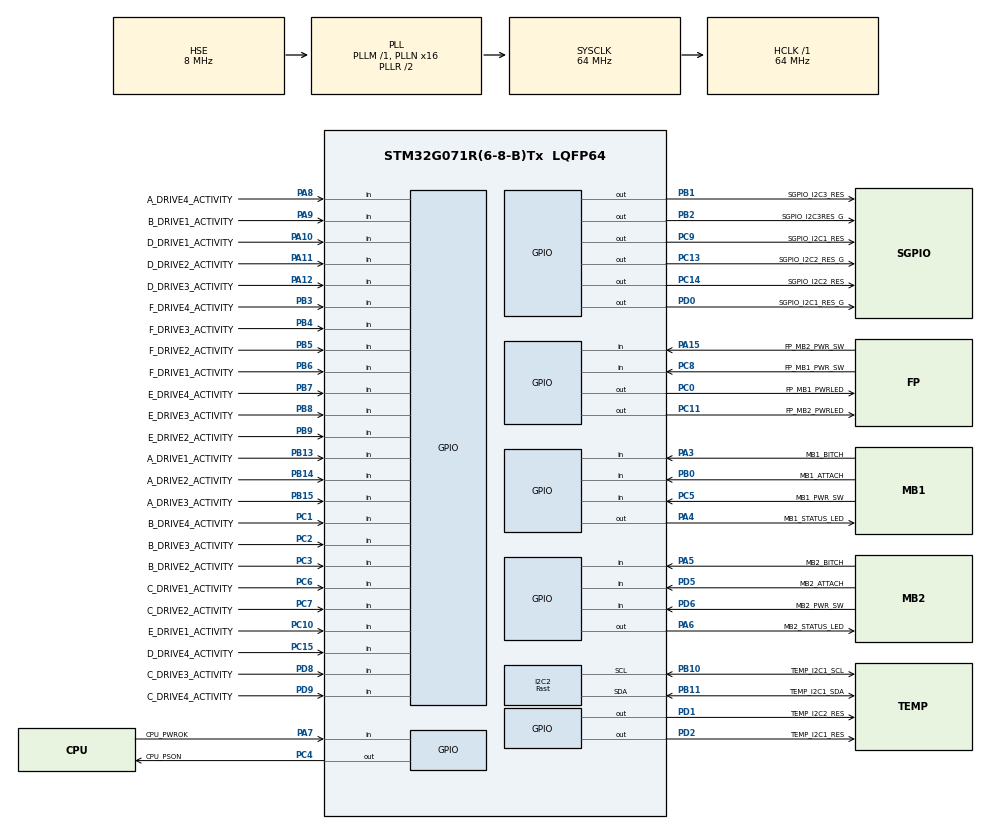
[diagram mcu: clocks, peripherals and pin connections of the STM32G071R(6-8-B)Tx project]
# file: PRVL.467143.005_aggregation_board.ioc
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Dma.I2C2_RX.0.Direction=DMA_PERIPH_TO_MEMORY
Dma.I2C2_RX.0.EventEnable=DISABLE
Dma.I2C2_RX.0.Instance=DMA1_Channel1
Dma.I2C2_RX.0.MemDataAlignment=DMA_MDATAALIGN_BYTE
Dma.I2C2_RX.0.MemInc=DMA_MINC_ENABLE
Dma.I2C2_RX.0.Mode=DMA_NORMAL
Dma.I2C2_RX.0.PeriphDataAlignment=DMA_PDATAALIGN_BYTE
Dma.I2C2_RX.0.PeriphInc=DMA_PINC_DISABLE
Dma.I2C2_RX.0.Polarity=HAL_DMAMUX_REQ_GEN_RISING
Dma.I2C2_RX.0.Priority=DMA_PRIORITY_LOW
Dma.I2C2_RX.0.RequestNumber=1
Dma.I2C2_RX.0.SignalID=NONE
Dma.I2C2_RX.0.SyncEnable=DISABLE
Dma.I2C2_RX.0.SyncPolarity=HAL_DMAMUX_SYNC_NO_EVENT
Dma.I2C2_RX.0.SyncRequestNumber=1
Dma.I2C2_RX.0.SyncSignalID=NONE
Dma.I2C2_TX.1.Direction=DMA_MEMORY_TO_PERIPH
Dma.I2C2_TX.1.EventEnable=DISABLE
Dma.I2C2_TX.1.Instance=DMA1_Channel2
Dma.I2C2_TX.1.MemDataAlignment=DMA_MDATAALIGN_BYTE
Dma.I2C2_TX.1.MemInc=DMA_MINC_ENABLE
Dma.I2C2_TX.1.Mode=DMA_NORMAL
Dma.I2C2_TX.1.PeriphDataAlignment=DMA_PDATAALIGN_BYTE
Dma.I2C2_TX.1.PeriphInc=DMA_PINC_DISABLE
Dma.I2C2_TX.1.Polarity=HAL_DMAMUX_REQ_GEN_RISING
Dma.I2C2_TX.1.Priority=DMA_PRIORITY_LOW
Dma.I2C2_TX.1.RequestNumber=1
Dma.I2C2_TX.1.SignalID=NONE
Dma.I2C2_TX.1.SyncEnable=DISABLE
Dma.I2C2_TX.1.SyncPolarity=HAL_DMAMUX_SYNC_NO_EVENT
Dma.I2C2_TX.1.SyncRequestNumber=1
Dma.I2C2_TX.1.SyncSignalID=NONE
Dma.Request0=I2C2_RX
Dma.Request1=I2C2_TX
I2C2.Analog_Filter=I2C_ANALOGFILTER_ENABLE
I2C2.I2C_Fall_Time=100
I2C2.I2C_Rise_Time=140
I2C2.I2C_Speed_Mode=I2C_Fast
I2C2.NoStretchMode=I2C_NOSTRETCH_DISABLE
I2C2.Timing=0x00F12163
Mcu.Family=STM32G0
Mcu.Name=STM32G071R(6-8-B)Tx
Mcu.Package=LQFP64
NVIC.DMA1_Channel1_IRQn=true\:2\:0\:true\:true\:true\:1\:false\:true\:true
NVIC.DMA1_Channel2_3_IRQn=true\:2\:0\:true\:true\:true\:2\:false\:true\:true
NVIC.I2C2_IRQn=true\:1\:0\:true\:true\:true\:5\:true\:true\:true
NVIC.TIM1_BRK_UP_TRG_COM_IRQn=true\:2\:0\:true\:false\:true\:true\:true\:true
NVIC.TIM2_IRQn=true\:2\:0\:true\:true\:true\:3\:true\:true\:true
NVIC.TIM3_IRQn=true\:2\:0\:true\:true\:true\:4\:true\:true\:true
PA10.GPIO_Label=D_DRIVE1_ACTIVITY
PA10.Signal=GPIO_Input
PA11\ [PA9].GPIO_Label=D_DRIVE2_ACTIVITY
PA11\ [PA9].Signal=GPIO_Input
PA12\ [PA10].GPIO_Label=D_DRIVE3_ACTIVITY
PA12\ [PA10].Signal=GPIO_Input
PA13.Mode=Serial_Wire
PA13.Signal=SYS_SWDIO
PA14-BOOT0.Mode=Serial_Wire
PA14-BOOT0.Signal=SYS_SWCLK
PA15.GPIO_Label=FP_MB2_PWR_SW
PA15.GPIO_Mode=GPIO_MODE_INPUT
PA15.GPIO_PuPd=GPIO_PULLUP
PA15.Signal=GPIO_Input
PA3.GPIO_Label=MB1_BITCH
PA3.Signal=GPIO_Input
PA4.GPIO_Label=MB1_STATUS_LED
PA4.PinState=GPIO_PIN_SET
PA4.Signal=GPIO_Output
PA5.GPIO_Label=MB2_BITCH
PA5.Signal=GPIO_Input
PA6.GPIO_Label=MB2_STATUS_LED
PA6.PinState=GPIO_PIN_SET
PA6.Signal=GPIO_Output
PA7.GPIO_Label=CPU_PWROK
PA7.Signal=GPIO_Input
PA8.GPIO_Label=A_DRIVE4_ACTIVITY
PA8.Signal=GPIO_Input
PA9.GPIO_Label=B_DRIVE1_ACTIVITY
PA9.Signal=GPIO_Input
PB0.GPIO_Label=MB1_ATTACH
PB0.Signal=GPIO_Input
PB1.GPIO_Label=SGPIO_I2C3_RES
PB1.PinState=GPIO_PIN_SET
PB1.Signal=GPIO_Output
PB10.GPIO_Label=TEMP_I2C1_SCL
PB10.Mode=I2C
PB10.Signal=I2C2_SCL
PB11.GPIO_Label=TEMP_I2C1_SDA
PB11.Mode=I2C
PB11.Signal=I2C2_SDA
PB13.GPIO_Label=A_DRIVE1_ACTIVITY
PB13.Signal=GPIO_Input
PB14.GPIO_Label=A_DRIVE2_ACTIVITY
PB14.Signal=GPIO_Input
PB15.GPIO_Label=A_DRIVE3_ACTIVITY
PB15.Signal=GPIO_Input
PB2.GPIO_Label=SGPIO_I2C3RES_G
PB2.PinState=GPIO_PIN_SET
PB2.Signal=GPIO_Output
PB3.GPIO_Label=F_DRIVE4_ACTIVITY
PB3.Signal=GPIO_Input
PB4.GPIO_Label=F_DRIVE3_ACTIVITY
PB4.Signal=GPIO_Input
PB5.GPIO_Label=F_DRIVE2_ACTIVITY
PB5.Signal=GPIO_Input
PB6.GPIO_Label=F_DRIVE1_ACTIVITY
PB6.Signal=GPIO_Input
PB7.GPIO_Label=E_DRIVE4_ACTIVITY
PB7.Signal=GPIO_Input
PB8.GPIO_Label=E_DRIVE3_ACTIVITY
PB8.Signal=GPIO_Input
PB9.GPIO_Label=E_DRIVE2_ACTIVITY
PB9.Signal=GPIO_Input
PC0.GPIO_Label=FP_MB1_PWRLED
PC0.Signal=GPIO_Output
PC1.GPIO_Label=B_DRIVE4_ACTIVITY
PC1.Signal=GPIO_Input
PC10.GPIO_Label=E_DRIVE1_ACTIVITY
PC10.Signal=GPIO_Input
PC11.GPIO_Label=FP_MB2_PWRLED
PC11.Signal=GPIO_Output
PC13.GPIO_Label=SGPIO_I2C2_RES_G
PC13.PinState=GPIO_PIN_SET
PC13.Signal=GPIO_Output
PC14-OSC32_IN\ (PC14).GPIO_Label=SGPIO_I2C2_RES
PC14-OSC32_IN\ (PC14).PinState=GPIO_PIN_SET
PC14-OSC32_IN\ (PC14).Signal=GPIO_Output
PC15-OSC32_OUT\ (PC15).GPIO_Label=D_DRIVE4_ACTIVITY
PC15-OSC32_OUT\ (PC15).Signal=GPIO_Input
PC2.GPIO_Label=B_DRIVE3_ACTIVITY
PC2.Signal=GPIO_Input
PC3.GPIO_Label=B_DRIVE2_ACTIVITY
PC3.Signal=GPIO_Input
PC4.GPIO_Label=CPU_PSON
PC4.Signal=GPIO_Output
PC5.GPIO_Label=MB1_PWR_SW
PC5.Signal=GPIO_Input
PC6.GPIO_Label=C_DRIVE1_ACTIVITY
PC6.Signal=GPIO_Input
PC7.GPIO_Label=C_DRIVE2_ACTIVITY
PC7.Signal=GPIO_Input
PC8.GPIO_Label=FP_MB1_PWR_SW
PC8.GPIO_Mode=GPIO_MODE_INPUT
PC8.GPIO_PuPd=GPIO_PULLUP
PC8.Signal=GPIO_Input
PC9.GPIO_Label=SGPIO_I2C1_RES
PC9.PinState=GPIO_PIN_SET
PC9.Signal=GPIO_Output
PD0.GPIO_Label=SGPIO_I2C1_RES_G
PD0.PinState=GPIO_PIN_SET
PD0.Signal=GPIO_Output
PD1.GPIO_Label=TEMP_I2C2_RES
PD1.PinState=GPIO_PIN_SET
PD1.Signal=GPIO_Output
PD2.GPIO_Label=TEMP_I2C1_RES
PD2.PinState=GPIO_PIN_SET
PD2.Signal=GPIO_Output
PD5.GPIO_Label=MB2_ATTACH
PD5.Signal=GPIO_Input
PD6.GPIO_Label=MB2_PWR_SW
PD6.Signal=GPIO_Input
PD8.GPIO_Label=C_DRIVE3_ACTIVITY
PD8.Signal=GPIO_Input
PD9.GPIO_Label=C_DRIVE4_ACTIVITY
PD9.Signal=GPIO_Input
PF0-OSC_IN\ (PF0).Mode=HSE-External-Oscillator
PF0-OSC_IN\ (PF0).Signal=RCC_OSC_IN
PF1-OSC_OUT\ (PF1).Mode=HSE-External-Oscillator
PF1-OSC_OUT\ (PF1).Signal=RCC_OSC_OUT
ProjectManager.HeapSize=0x200
ProjectManager.StackSize=0x400
ProjectManager.TargetToolchain=STM32CubeIDE
RCC.ADCFreq_Value=64000000
RCC.AHBFreq_Value=64000000
RCC.CortexFreq_Value=64000000
RCC.EXTERNAL_CLOCK_VALUE=48000
RCC.EnbaleCSS=true
RCC.HCLKFreq_Value=64000000
RCC.HSE_VALUE=8000000
RCC.HSI_VALUE=16000000
RCC.LSE_VALUE=32768
RCC.PLLN=16
RCC.PLLQ=RCC_PLLQ_DIV4
RCC.PLLSourceVirtual=RCC_PLLSOURCE_HSE
RCC.SYSCLKFreq_VALUE=64000000
RCC.SYSCLKSource=RCC_SYSCLKSOURCE_PLLCLK
RCC.VCOOutputFreq_Value=128000000
TIM1.Period=124
TIM1.Prescaler=63999
TIM2.Period=499
TIM2.Prescaler=63999
TIM3.Period=999
TIM3.Prescaler=63999
VP_TIM1_VS_ClockSourceINT.Mode=Internal
VP_TIM2_VS_ClockSourceINT.Mode=Internal
VP_TIM3_VS_ClockSourceINT.Mode=Internal
board=custom

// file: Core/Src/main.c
/* USER CODE BEGIN Header */
/**
 ******************************************************************************
 * @file           : main.c
 * @brief          : Main program body
 ******************************************************************************
 * @attention
 *
 * Copyright (c) 2025 STMicroelectronics.
 * All rights reserved.
 *
 * This software is licensed under terms that can be found in the LICENSE file
 * in the root directory of this software component.
 * If no LICENSE file comes with this software, it is provided AS-IS.
 *
 ******************************************************************************
 */
/* USER CODE END Header */
#include "main.h"

/* USER CODE BEGIN Includes */
#include "config.h"
#include "adapter.h"
#include "led.h"
#include "disk.h"
#include "button.h"
#include "temperature.h"
#include "i2c.h"
/* USER CODE END Includes */

/* USER CODE BEGIN PTD */

/*typedef struct
{
	GPIO_TypeDef *activPort;  // Порт для пина ACTIV
	uint16_t activPin;        // Пин ACTIV
} DiskPins;*/
/* USER CODE END PTD */

I2C_HandleTypeDef hi2c2;
DMA_HandleTypeDef hdma_i2c2_rx;
DMA_HandleTypeDef hdma_i2c2_tx;

TIM_HandleTypeDef htim1;
TIM_HandleTypeDef htim2;
TIM_HandleTypeDef htim3;

/* USER CODE BEGIN PV */
Button buttons[2] = {
		{GPIOC, FP_MB1_PWR_SW_Pin, BUTTON_IDLE, 0, 1}, // Кнопка 1
		{GPIOA, FP_MB2_PWR_SW_Pin, BUTTON_IDLE, 0, 2}  // Кнопка 2
};

LEDState leds[2] = {
		{FP_MB1_PWRLED_GPIO_Port, FP_MB1_PWRLED_Pin, 1, 0, 0},
		{FP_MB2_PWRLED_GPIO_Port, FP_MB2_PWRLED_Pin, 2, 0, 0}
};

int8_t temperature = 25;

uint8_t disk_status[6] = {0}; // Буфер для приёма данных

uint8_t Buf_PRSTN[2] = {0 , 0};

uint8_t i2cbuff_OUT[3] = {0x06, 0x00, 0x00}; // Буфер инициализации каналов расширителя на output
uint8_t i2cbuff_IN[3] = {0x06, 0xAA, 0xAA}; // Буфер инициализации каналов расширителя на input (10101010,10101010)

uint8_t I2CInit_off[2] = {0x0, 0x0}; //Буфер отключения каналов расширителя I2C
uint8_t I2CInit_0[2] = {0x1, 0x0}; //Буфер выбора нулевого канала расширителя I2C
uint8_t I2CInit_1[2] = {0x2, 0x0}; //Буфер выбора первого канала расширителя I2C
uint8_t I2CInit_2[2] = {0x4, 0x0}; //Буфер выбора второго канала расширителя I2C
uint8_t I2CInit_3[2] = {0x8, 0x0}; //Буфер выбора третьего канала расширителя I2C
uint8_t I2CInit_2_3[2] = {0xC, 0x0}; //Буфер выбора второго и третьего канала расширителя I2C

uint8_t ledbufON[3] = {0x02, 0x00, 0x00}; // Все 1 на выходе расширителя
uint8_t ledbufOFF[3] = {0x02, 0xFF, 0xFF}; // Все 0 на выходе расширителя

uint8_t Dev_SLP_ON[3] = {0x02, 0xAA, 0xAA}; // "10101010", "10101010" (dev_slp_position)

uint8_t channel_one[3] = {0x02, 0xFF, 0xFF};//буферы каналов sgpio
uint8_t channel_two[3] = {0x02, 0xFF, 0xFF};
uint8_t channel_three[3] = {0x02, 0xFF, 0xFF};

DiskStatus disks[MAX_DISKS] = {0}; // Массив для хранения статусов всех дисков
//DiskPins diskPins[MAX_DISKS]; // Массив для хранения пинов всех дисков

uint8_t MB1_attach = 1;// переменные для управления адаптерами
uint8_t MB2_attach = 1;

uint8_t ledbuf_AB[3] = {0x02, 0xFF, 0xFF}; // Все 1 на выходе расширителя
uint8_t ledbuf_CD[3] = {0x02, 0xFF, 0xFF}; // Все 2 на выходе расширителя
uint8_t ledbuf_EF[3] = {0x02, 0xFF, 0xFF}; // Все 3 на выходе расширителя

uint8_t adapter1_state = 0; // Состояние адаптера 1 (0 - выключен, 1 - включен)
uint8_t adapter2_state = 0; // Состояние адаптера 2 (0 - выключен, 1 - включен)

uint8_t BP_ON = 0;       //Статус блока питания
uint8_t state_fp1 = 0;
uint8_t state_fp2 = 0;
uint8_t hotswap_mb1 = 0;
uint8_t hotswap_mb2 = 0;

uint8_t MB_ON_1 = 0;
uint8_t MB_ON_2 = 0;

uint8_t btn_handler = 0;
uint8_t previousActivity[MAX_DISKS] = {0}; // Массив для хранения предыдущего состояния активности
uint32_t activityTimer[MAX_DISKS] = {0}; // Массив для хранения времени последнего изменения активности

uint32_t connectActivityTimer[MAX_DISKS] = {0}; // Таймеры для сброса активности при подключении
uint8_t cold_start = 1;
uint8_t is_launching = 0;
volatile uint8_t button1_pressed = 0; // Флаг нажатия кнопки 1
volatile uint8_t button2_pressed = 0; // Флаг нажатия кнопки 2
volatile uint32_t button1_press_time = 0; // Время нажатия кнопки 1
volatile uint32_t button2_press_time = 0; // Время нажатия кнопки 2
volatile uint32_t button1_debounce_time = 0; // Время последнего срабатывания прерывания
volatile uint32_t button2_debounce_time = 0; // Время последнего срабатывания прерывания
/* USER CODE END PV */

void SystemClock_Config(void);
static void MX_GPIO_Init(void);
static void MX_DMA_Init(void);
static void MX_I2C2_Init(void);
static void MX_TIM3_Init(void);
static void MX_TIM1_Init(void);
static void MX_TIM2_Init(void);
static void MX_NVIC_Init(void);
/* USER CODE BEGIN PFP */
//void InitializeDiskPins();
void ProcessCondition()
{
	if (MB1_attach == 0) {
		if (HAL_GPIO_ReadPin(MB1_BITCH_GPIO_Port, MB1_BITCH_Pin) == 1)
		{
			adapter1_state = 0;}
		else adapter1_state = 1;
	}

	if (MB2_attach == 0) {
		if (HAL_GPIO_ReadPin(MB2_BITCH_GPIO_Port, MB2_BITCH_Pin) == 1)
		{
			adapter2_state = 0;
		}else adapter2_state = 1;
	}
	MB1_attach = HAL_GPIO_ReadPin(MB1_ATTACH_GPIO_Port, MB1_ATTACH_Pin);
	MB2_attach = HAL_GPIO_ReadPin(MB2_ATTACH_GPIO_Port, MB2_ATTACH_Pin);
}

/* USER CODE END PFP */

/* USER CODE BEGIN 0 */

uint8_t     update_led_flag = 0;

uint8_t     read_disk_status_flag = 0;

uint8_t     transmit_temperature_flag = 0;

uint8_t     read_disks_connected_flag = 0;

uint8_t flag = 0 ;
/* USER CODE END 0 */

int main(void)
{

  /* MCU Configuration--------------------------------------------------------*/

  /* Reset of all peripherals, Initializes the Flash interface and the Systick. */
  HAL_Init();

  /* Configure the system clock */
  SystemClock_Config();

  /* Initialize all configured peripherals */
  MX_GPIO_Init();
  MX_DMA_Init();
  MX_I2C2_Init();
  MX_TIM3_Init();
  MX_TIM1_Init();
  MX_TIM2_Init();

  /* Initialize interrupts */
  MX_NVIC_Init();
  /* USER CODE BEGIN 2 */

	ResetBus();
	HAL_Delay(500);
	HAL_NVIC_SetPriority(EXTI4_15_IRQn, 1, 0);
	HAL_NVIC_EnableIRQ(EXTI4_15_IRQn);
	ResetBus();
	//InitializeDiskPins();

	Initialize_Disks();

	Set_devslp();
	HAL_Delay(250);
	Read_disks_connected(); // Чтение подключенных дисков
	HAL_Delay(250);
	HAL_TIM_Base_Start_IT(&htim3);

  /* USER CODE END 2 */

  /* Infinite loop */
	while (1)
	{

    /* USER CODE BEGIN 3 */
		HandleButtons();//buttons
		ProcessCondition();
		UpdateLEDs();

	}
  /* USER CODE END 3 */
}

void SystemClock_Config(void)
{
  RCC_OscInitTypeDef RCC_OscInitStruct = {0};
  RCC_ClkInitTypeDef RCC_ClkInitStruct = {0};

  /** Configure the main internal regulator output voltage
  */
  HAL_PWREx_ControlVoltageScaling(PWR_REGULATOR_VOLTAGE_SCALE1);

  /** Initializes the RCC Oscillators according to the specified parameters
  * in the RCC_OscInitTypeDef structure.
  */
  RCC_OscInitStruct.OscillatorType = RCC_OSCILLATORTYPE_HSE;
  RCC_OscInitStruct.HSEState = RCC_HSE_ON;
  RCC_OscInitStruct.PLL.PLLState = RCC_PLL_ON;
  RCC_OscInitStruct.PLL.PLLSource = RCC_PLLSOURCE_HSE;
  RCC_OscInitStruct.PLL.PLLM = RCC_PLLM_DIV1;
  RCC_OscInitStruct.PLL.PLLN = 16;
  RCC_OscInitStruct.PLL.PLLP = RCC_PLLP_DIV2;
  RCC_OscInitStruct.PLL.PLLQ = RCC_PLLQ_DIV4;
  RCC_OscInitStruct.PLL.PLLR = RCC_PLLR_DIV2;
  if (HAL_RCC_OscConfig(&RCC_OscInitStruct) != HAL_OK)
  {
    Error_Handler();
  }

  /** Initializes the CPU, AHB and APB buses clocks
  */
  RCC_ClkInitStruct.ClockType = RCC_CLOCKTYPE_HCLK|RCC_CLOCKTYPE_SYSCLK
                              |RCC_CLOCKTYPE_PCLK1;
  RCC_ClkInitStruct.SYSCLKSource = RCC_SYSCLKSOURCE_PLLCLK;
  RCC_ClkInitStruct.AHBCLKDivider = RCC_SYSCLK_DIV1;
  RCC_ClkInitStruct.APB1CLKDivider = RCC_HCLK_DIV1;

  if (HAL_RCC_ClockConfig(&RCC_ClkInitStruct, FLASH_LATENCY_2) != HAL_OK)
  {
    Error_Handler();
  }

  /** Enables the Clock Security System
  */
  HAL_RCC_EnableCSS();
}

/**
  * @brief NVIC Configuration.
  * @retval None
  */
static void MX_NVIC_Init(void)
{
  /* DMA1_Channel1_IRQn interrupt configuration */
  HAL_NVIC_SetPriority(DMA1_Channel1_IRQn, 2, 0);
  HAL_NVIC_EnableIRQ(DMA1_Channel1_IRQn);
  /* DMA1_Channel2_3_IRQn interrupt configuration */
  HAL_NVIC_SetPriority(DMA1_Channel2_3_IRQn, 2, 0);
  HAL_NVIC_EnableIRQ(DMA1_Channel2_3_IRQn);
  /* TIM2_IRQn interrupt configuration */
  HAL_NVIC_SetPriority(TIM2_IRQn, 2, 0);
  HAL_NVIC_EnableIRQ(TIM2_IRQn);
  /* TIM3_IRQn interrupt configuration */
  HAL_NVIC_SetPriority(TIM3_IRQn, 2, 0);
  HAL_NVIC_EnableIRQ(TIM3_IRQn);
  /* I2C2_IRQn interrupt configuration */
  HAL_NVIC_SetPriority(I2C2_IRQn, 1, 0);
  HAL_NVIC_EnableIRQ(I2C2_IRQn);
}

static void MX_I2C2_Init(void)
{

  hi2c2.Instance = I2C2;
  hi2c2.Init.Timing = 0x00F12163;
  hi2c2.Init.OwnAddress1 = 0;
  hi2c2.Init.AddressingMode = I2C_ADDRESSINGMODE_7BIT;
  hi2c2.Init.DualAddressMode = I2C_DUALADDRESS_DISABLE;
  hi2c2.Init.OwnAddress2 = 0;
  hi2c2.Init.OwnAddress2Masks = I2C_OA2_NOMASK;
  hi2c2.Init.GeneralCallMode = I2C_GENERALCALL_DISABLE;
  hi2c2.Init.NoStretchMode = I2C_NOSTRETCH_DISABLE;
  if (HAL_I2C_Init(&hi2c2) != HAL_OK)
  {
    Error_Handler();
  }

  /** Configure Analogue filter
  */
  if (HAL_I2CEx_ConfigAnalogFilter(&hi2c2, I2C_ANALOGFILTER_ENABLE) != HAL_OK)
  {
    Error_Handler();
  }

  /** Configure Digital filter
  */
  if (HAL_I2CEx_ConfigDigitalFilter(&hi2c2, 0) != HAL_OK)
  {
    Error_Handler();
  }

}

static void MX_TIM1_Init(void)
{

  TIM_ClockConfigTypeDef sClockSourceConfig = {0};
  TIM_MasterConfigTypeDef sMasterConfig = {0};

  htim1.Instance = TIM1;
  htim1.Init.Prescaler = 63999;
  htim1.Init.CounterMode = TIM_COUNTERMODE_UP;
  htim1.Init.Period = 124;
  htim1.Init.ClockDivision = TIM_CLOCKDIVISION_DIV1;
  htim1.Init.RepetitionCounter = 0;
  htim1.Init.AutoReloadPreload = TIM_AUTORELOAD_PRELOAD_DISABLE;
  if (HAL_TIM_Base_Init(&htim1) != HAL_OK)
  {
    Error_Handler();
  }
  sClockSourceConfig.ClockSource = TIM_CLOCKSOURCE_INTERNAL;
  if (HAL_TIM_ConfigClockSource(&htim1, &sClockSourceConfig) != HAL_OK)
  {
    Error_Handler();
  }
  sMasterConfig.MasterOutputTrigger = TIM_TRGO_RESET;
  sMasterConfig.MasterOutputTrigger2 = TIM_TRGO2_RESET;
  sMasterConfig.MasterSlaveMode = TIM_MASTERSLAVEMODE_DISABLE;
  if (HAL_TIMEx_MasterConfigSynchronization(&htim1, &sMasterConfig) != HAL_OK)
  {
    Error_Handler();
  }

}

static void MX_TIM2_Init(void)
{

  TIM_ClockConfigTypeDef sClockSourceConfig = {0};
  TIM_MasterConfigTypeDef sMasterConfig = {0};

  htim2.Instance = TIM2;
  htim2.Init.Prescaler = 63999;
  htim2.Init.CounterMode = TIM_COUNTERMODE_UP;
  htim2.Init.Period = 499;
  htim2.Init.ClockDivision = TIM_CLOCKDIVISION_DIV1;
  htim2.Init.AutoReloadPreload = TIM_AUTORELOAD_PRELOAD_DISABLE;
  if (HAL_TIM_Base_Init(&htim2) != HAL_OK)
  {
    Error_Handler();
  }
  sClockSourceConfig.ClockSource = TIM_CLOCKSOURCE_INTERNAL;
  if (HAL_TIM_ConfigClockSource(&htim2, &sClockSourceConfig) != HAL_OK)
  {
    Error_Handler();
  }
  sMasterConfig.MasterOutputTrigger = TIM_TRGO_RESET;
  sMasterConfig.MasterSlaveMode = TIM_MASTERSLAVEMODE_DISABLE;
  if (HAL_TIMEx_MasterConfigSynchronization(&htim2, &sMasterConfig) != HAL_OK)
  {
    Error_Handler();
  }

}

static void MX_TIM3_Init(void)
{

  TIM_ClockConfigTypeDef sClockSourceConfig = {0};
  TIM_MasterConfigTypeDef sMasterConfig = {0};

  htim3.Instance = TIM3;
  htim3.Init.Prescaler = 63999;
  htim3.Init.CounterMode = TIM_COUNTERMODE_UP;
  htim3.Init.Period = 999;
  htim3.Init.ClockDivision = TIM_CLOCKDIVISION_DIV1;
  htim3.Init.AutoReloadPreload = TIM_AUTORELOAD_PRELOAD_DISABLE;
  if (HAL_TIM_Base_Init(&htim3) != HAL_OK)
  {
    Error_Handler();
  }
  sClockSourceConfig.ClockSource = TIM_CLOCKSOURCE_INTERNAL;
  if (HAL_TIM_ConfigClockSource(&htim3, &sClockSourceConfig) != HAL_OK)
  {
    Error_Handler();
  }
  sMasterConfig.MasterOutputTrigger = TIM_TRGO_RESET;
  sMasterConfig.MasterSlaveMode = TIM_MASTERSLAVEMODE_DISABLE;
  if (HAL_TIMEx_MasterConfigSynchronization(&htim3, &sMasterConfig) != HAL_OK)
  {
    Error_Handler();
  }

}

static void MX_DMA_Init(void)
{

  /* DMA controller clock enable */
  __HAL_RCC_DMA1_CLK_ENABLE();

}

static void MX_GPIO_Init(void)
{
  GPIO_InitTypeDef GPIO_InitStruct = {0};

  /* GPIO Ports Clock Enable */
  __HAL_RCC_GPIOC_CLK_ENABLE();
  __HAL_RCC_GPIOF_CLK_ENABLE();
  __HAL_RCC_GPIOA_CLK_ENABLE();
  __HAL_RCC_GPIOB_CLK_ENABLE();
  __HAL_RCC_GPIOD_CLK_ENABLE();

  /*Configure GPIO pin Output Level */
  HAL_GPIO_WritePin(GPIOC, FP_MB2_PWRLED_Pin|FP_MB1_PWRLED_Pin|CPU_PSON_Pin, GPIO_PIN_RESET);

  /*Configure GPIO pin Output Level */
  HAL_GPIO_WritePin(GPIOC, SGPIO_I2C2_RES_G_Pin|SGPIO_I2C2_RES_Pin|SGPIO_I2C1_RES_Pin, GPIO_PIN_SET);

  /*Configure GPIO pin Output Level */
  HAL_GPIO_WritePin(GPIOA, MB1_STATUS_LED_Pin|MB2_STATUS_LED_Pin, GPIO_PIN_SET);

  /*Configure GPIO pin Output Level */
  HAL_GPIO_WritePin(GPIOB, SGPIO_I2C3_RES_Pin|SGPIO_I2C3RES_G_Pin, GPIO_PIN_SET);

  /*Configure GPIO pin Output Level */
  HAL_GPIO_WritePin(GPIOD, SGPIO_I2C1_RES_G_Pin|TEMP_I2C2_RES_Pin|TEMP_I2C1_RES_Pin, GPIO_PIN_SET);

  /*Configure GPIO pins : FP_MB2_PWRLED_Pin SGPIO_I2C2_RES_G_Pin SGPIO_I2C2_RES_Pin FP_MB1_PWRLED_Pin
                           CPU_PSON_Pin SGPIO_I2C1_RES_Pin */
  GPIO_InitStruct.Pin = FP_MB2_PWRLED_Pin|SGPIO_I2C2_RES_G_Pin|SGPIO_I2C2_RES_Pin|FP_MB1_PWRLED_Pin
                          |CPU_PSON_Pin|SGPIO_I2C1_RES_Pin;
  GPIO_InitStruct.Mode = GPIO_MODE_OUTPUT_PP;
  GPIO_InitStruct.Pull = GPIO_NOPULL;
  GPIO_InitStruct.Speed = GPIO_SPEED_FREQ_LOW;
  HAL_GPIO_Init(GPIOC, &GPIO_InitStruct);

  /*Configure GPIO pins : D_DRIVE4_ACTIVITY_Pin B_DRIVE4_ACTIVITY_Pin B_DRIVE3_ACTIVITY_Pin B_DRIVE2_ACTIVITY_Pin
                           MB1_PWR_SW_Pin C_DRIVE1_ACTIVITY_Pin C_DRIVE2_ACTIVITY_Pin E_DRIVE1_ACTIVITY_Pin */
  GPIO_InitStruct.Pin = D_DRIVE4_ACTIVITY_Pin|B_DRIVE4_ACTIVITY_Pin|B_DRIVE3_ACTIVITY_Pin|B_DRIVE2_ACTIVITY_Pin
                          |MB1_PWR_SW_Pin|C_DRIVE1_ACTIVITY_Pin|C_DRIVE2_ACTIVITY_Pin|E_DRIVE1_ACTIVITY_Pin;
  GPIO_InitStruct.Mode = GPIO_MODE_INPUT;
  GPIO_InitStruct.Pull = GPIO_NOPULL;
  HAL_GPIO_Init(GPIOC, &GPIO_InitStruct);

  /*Configure GPIO pins : MB1_BITCH_Pin MB2_BITCH_Pin CPU_PWROK_Pin A_DRIVE4_ACTIVITY_Pin
                           B_DRIVE1_ACTIVITY_Pin D_DRIVE1_ACTIVITY_Pin D_DRIVE2_ACTIVITY_Pin D_DRIVE3_ACTIVITY_Pin */
  GPIO_InitStruct.Pin = MB1_BITCH_Pin|MB2_BITCH_Pin|CPU_PWROK_Pin|A_DRIVE4_ACTIVITY_Pin
                          |B_DRIVE1_ACTIVITY_Pin|D_DRIVE1_ACTIVITY_Pin|D_DRIVE2_ACTIVITY_Pin|D_DRIVE3_ACTIVITY_Pin;
  GPIO_InitStruct.Mode = GPIO_MODE_INPUT;
  GPIO_InitStruct.Pull = GPIO_NOPULL;
  HAL_GPIO_Init(GPIOA, &GPIO_InitStruct);

  /*Configure GPIO pins : MB1_STATUS_LED_Pin MB2_STATUS_LED_Pin */
  GPIO_InitStruct.Pin = MB1_STATUS_LED_Pin|MB2_STATUS_LED_Pin;
  GPIO_InitStruct.Mode = GPIO_MODE_OUTPUT_PP;
  GPIO_InitStruct.Pull = GPIO_NOPULL;
  GPIO_InitStruct.Speed = GPIO_SPEED_FREQ_LOW;
  HAL_GPIO_Init(GPIOA, &GPIO_InitStruct);

  /*Configure GPIO pins : MB1_ATTACH_Pin A_DRIVE1_ACTIVITY_Pin A_DRIVE2_ACTIVITY_Pin A_DRIVE3_ACTIVITY_Pin
                           F_DRIVE4_ACTIVITY_Pin F_DRIVE3_ACTIVITY_Pin F_DRIVE2_ACTIVITY_Pin F_DRIVE1_ACTIVITY_Pin
                           E_DRIVE4_ACTIVITY_Pin E_DRIVE3_ACTIVITY_Pin E_DRIVE2_ACTIVITY_Pin */
  GPIO_InitStruct.Pin = MB1_ATTACH_Pin|A_DRIVE1_ACTIVITY_Pin|A_DRIVE2_ACTIVITY_Pin|A_DRIVE3_ACTIVITY_Pin
                          |F_DRIVE4_ACTIVITY_Pin|F_DRIVE3_ACTIVITY_Pin|F_DRIVE2_ACTIVITY_Pin|F_DRIVE1_ACTIVITY_Pin
                          |E_DRIVE4_ACTIVITY_Pin|E_DRIVE3_ACTIVITY_Pin|E_DRIVE2_ACTIVITY_Pin;
  GPIO_InitStruct.Mode = GPIO_MODE_INPUT;
  GPIO_InitStruct.Pull = GPIO_NOPULL;
  HAL_GPIO_Init(GPIOB, &GPIO_InitStruct);

  /*Configure GPIO pins : SGPIO_I2C3_RES_Pin SGPIO_I2C3RES_G_Pin */
  GPIO_InitStruct.Pin = SGPIO_I2C3_RES_Pin|SGPIO_I2C3RES_G_Pin;
  GPIO_InitStruct.Mode = GPIO_MODE_OUTPUT_PP;
  GPIO_InitStruct.Pull = GPIO_NOPULL;
  GPIO_InitStruct.Speed = GPIO_SPEED_FREQ_LOW;
  HAL_GPIO_Init(GPIOB, &GPIO_InitStruct);

  /*Configure GPIO pins : C_DRIVE3_ACTIVITY_Pin C_DRIVE4_ACTIVITY_Pin MB2_ATTACH_Pin MB2_PWR_SW_Pin */
  GPIO_InitStruct.Pin = C_DRIVE3_ACTIVITY_Pin|C_DRIVE4_ACTIVITY_Pin|MB2_ATTACH_Pin|MB2_PWR_SW_Pin;
  GPIO_InitStruct.Mode = GPIO_MODE_INPUT;
  GPIO_InitStruct.Pull = GPIO_NOPULL;
  HAL_GPIO_Init(GPIOD, &GPIO_InitStruct);

  /*Configure GPIO pin : FP_MB2_PWR_SW_Pin */
  GPIO_InitStruct.Pin = FP_MB2_PWR_SW_Pin;
  GPIO_InitStruct.Mode = GPIO_MODE_INPUT;
  GPIO_InitStruct.Pull = GPIO_PULLUP;
  HAL_GPIO_Init(FP_MB2_PWR_SW_GPIO_Port, &GPIO_InitStruct);

  /*Configure GPIO pin : FP_MB1_PWR_SW_Pin */
  GPIO_InitStruct.Pin = FP_MB1_PWR_SW_Pin;
  GPIO_InitStruct.Mode = GPIO_MODE_INPUT;
  GPIO_InitStruct.Pull = GPIO_PULLUP;
  HAL_GPIO_Init(FP_MB1_PWR_SW_GPIO_Port, &GPIO_InitStruct);

  /*Configure GPIO pins : SGPIO_I2C1_RES_G_Pin TEMP_I2C2_RES_Pin TEMP_I2C1_RES_Pin */
  GPIO_InitStruct.Pin = SGPIO_I2C1_RES_G_Pin|TEMP_I2C2_RES_Pin|TEMP_I2C1_RES_Pin;
  GPIO_InitStruct.Mode = GPIO_MODE_OUTPUT_PP;
  GPIO_InitStruct.Pull = GPIO_NOPULL;
  GPIO_InitStruct.Speed = GPIO_SPEED_FREQ_LOW;
  HAL_GPIO_Init(GPIOD, &GPIO_InitStruct);

}

/* USER CODE BEGIN 4 */

void HAL_TIM_PeriodElapsedCallback(TIM_HandleTypeDef *htim)
{
	if (htim->Instance == TIM1 && btn_handler == 0) // 8 раз в секунду
	{
		HandleButtons();//buttons
		UpdateLEDStates(); // Обновление состояния светодиодов
		static uint8_t blink_phase = 0;
		blink_phase = !blink_phase; // �?нвертируем состояние
		for (int i = 0; i < 2; i++) {
			if (leds[i].is_blinking) {
				HAL_GPIO_WritePin(leds[i].GPIOx, leds[i].GPIO_Pin,
						blink_phase ? GPIO_PIN_SET : GPIO_PIN_RESET);
			}
		}
	} else
		if (htim->Instance == TIM2 && btn_handler == 0) // 4 раза в секунду
		{
			read_disk_status_flag = 1;

			Read_Disk_Status(0x24, disk_status, 6); // Чтение статуса дисков
			Decode_Disk_Status(disk_status); // Декодирование статуса
			Read_disks_connected(); // Чтение подключенных дисков

		} else
			if (htim->Instance == TIM3 && btn_handler == 0) // 1 раз в секунду
			{
				UpdateCPU_PSON();
				is_launching = 0;
				//temperature = getMaxTemperature();
				for (int i = 0; i < MAX_DISKS; ++i) {
					if (disks[i].activity == 1 && connectActivityTimer[i] != 0 &&
							(HAL_GetTick() - connectActivityTimer[i] >= 4000)) { // 4 секунды
						disks[i].activity = 0; // Сбрасываем активность
						connectActivityTimer[i] = 0; // Сбрасываем таймер
					}
				}
				transmit_temperature_flag = 1; // Устанавливаем флаг для передачи температуры

			}
}

/*void InitializeDiskPins()

{
	// Диск 0
	diskPins[0].activPort = F_DRIVE1_ACTIVITY_GPIO_Port;
	diskPins[0].activPin = F_DRIVE1_ACTIVITY_Pin;
	// Диск 1
	diskPins[1].activPort = F_DRIVE2_ACTIVITY_GPIO_Port;
	diskPins[1].activPin = F_DRIVE2_ACTIVITY_Pin;
	// Диск 2
	diskPins[2].activPort = F_DRIVE3_ACTIVITY_GPIO_Port;
	diskPins[2].activPin = F_DRIVE3_ACTIVITY_Pin;
	// �? так далее для остальных дисков...
	diskPins[3].activPort = F_DRIVE4_ACTIVITY_GPIO_Port;
	diskPins[3].activPin = F_DRIVE4_ACTIVITY_Pin;
	diskPins[4].activPort = E_DRIVE1_ACTIVITY_GPIO_Port;
	diskPins[4].activPin = E_DRIVE1_ACTIVITY_Pin;
	diskPins[5].activPort = E_DRIVE2_ACTIVITY_GPIO_Port;
	diskPins[5].activPin = E_DRIVE2_ACTIVITY_Pin;
	diskPins[6].activPort = E_DRIVE3_ACTIVITY_GPIO_Port;
	diskPins[6].activPin = E_DRIVE3_ACTIVITY_Pin;
	diskPins[7].activPort = E_DRIVE4_ACTIVITY_GPIO_Port;
	diskPins[7].activPin = E_DRIVE4_ACTIVITY_Pin;
	diskPins[8].activPort = D_DRIVE1_ACTIVITY_GPIO_Port;
	diskPins[8].activPin = D_DRIVE1_ACTIVITY_Pin;
	diskPins[9].activPort = D_DRIVE2_ACTIVITY_GPIO_Port;
	diskPins[9].activPin = D_DRIVE2_ACTIVITY_Pin;
	diskPins[10].activPort = D_DRIVE3_ACTIVITY_GPIO_Port;
	diskPins[10].activPin = D_DRIVE3_ACTIVITY_Pin;
	diskPins[11].activPort = D_DRIVE4_ACTIVITY_GPIO_Port;
	diskPins[11].activPin = D_DRIVE4_ACTIVITY_Pin;
	diskPins[12].activPort = C_DRIVE1_ACTIVITY_GPIO_Port;
	diskPins[12].activPin = C_DRIVE1_ACTIVITY_Pin;
	diskPins[13].activPort = C_DRIVE2_ACTIVITY_GPIO_Port;
	diskPins[13].activPin = C_DRIVE2_ACTIVITY_Pin;
	diskPins[14].activPort = C_DRIVE3_ACTIVITY_GPIO_Port;
	diskPins[14].activPin = C_DRIVE3_ACTIVITY_Pin;
	diskPins[15].activPort = C_DRIVE4_ACTIVITY_GPIO_Port;
	diskPins[15].activPin = C_DRIVE4_ACTIVITY_Pin;
	diskPins[16].activPort = B_DRIVE1_ACTIVITY_GPIO_Port;
	diskPins[16].activPin = B_DRIVE1_ACTIVITY_Pin;
	diskPins[17].activPort = B_DRIVE2_ACTIVITY_GPIO_Port;
	diskPins[17].activPin = B_DRIVE2_ACTIVITY_Pin;
	diskPins[18].activPort = B_DRIVE3_ACTIVITY_GPIO_Port;
	diskPins[18].activPin = B_DRIVE3_ACTIVITY_Pin;
	diskPins[19].activPort = B_DRIVE4_ACTIVITY_GPIO_Port;
	diskPins[19].activPin = B_DRIVE4_ACTIVITY_Pin;
	diskPins[20].activPort = A_DRIVE1_ACTIVITY_GPIO_Port;
	diskPins[20].activPin = A_DRIVE1_ACTIVITY_Pin;
	diskPins[21].activPort = A_DRIVE2_ACTIVITY_GPIO_Port;
	diskPins[21].activPin = A_DRIVE2_ACTIVITY_Pin;
	diskPins[22].activPort = A_DRIVE3_ACTIVITY_GPIO_Port;
	diskPins[22].activPin = A_DRIVE3_ACTIVITY_Pin;
	diskPins[23].activPort = A_DRIVE3_ACTIVITY_GPIO_Port;
	diskPins[23].activPin = A_DRIVE3_ACTIVITY_Pin;

}*/
/* USER CODE END 4 */

void Error_Handler(void)
{
	__disable_irq();
	while (1)
	{
	}
}
